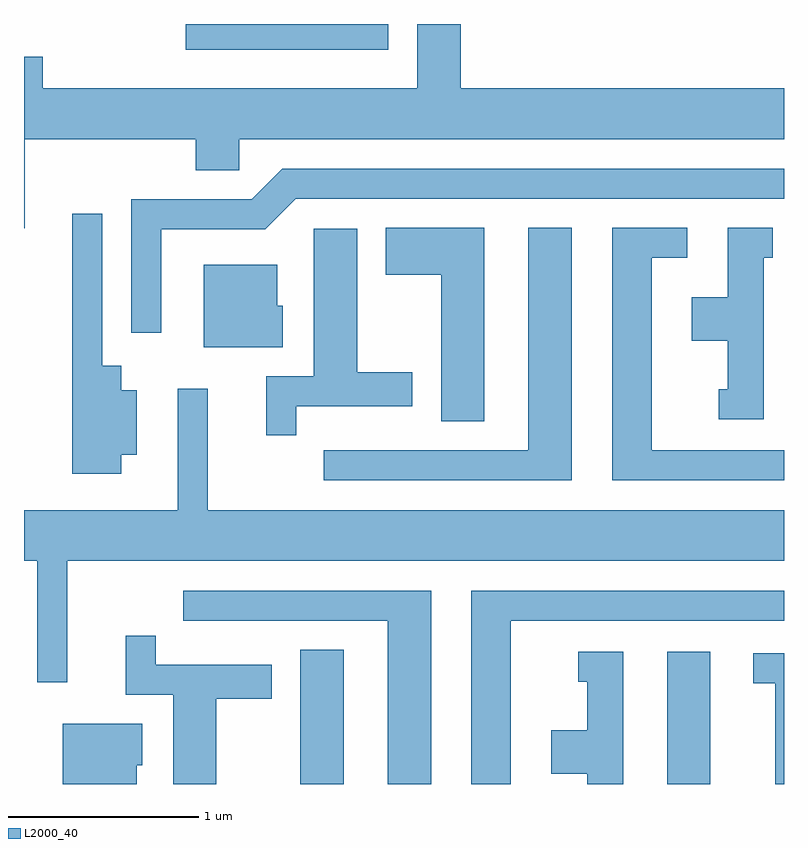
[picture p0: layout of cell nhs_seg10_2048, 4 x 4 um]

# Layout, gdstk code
import gdstk
lib = gdstk.Library(unit=1e-6, precision=1e-09)
def R(c, l, rs):  # rectangles x0, y0, x1, y1
    for r in rs: c.add(gdstk.rectangle(r[:2], r[2:], *l))
def P(c, l, *ps):  # polygons
    for p in ps: c.add(gdstk.Polygon(p, *l))
L2000_40 = (2000, 40)

nhs_seg10_2048 = lib.new_cell('nhs_seg10_2048')
R(nhs_seg10_2048, L2000_40, [(247.066,2110.522,247.294,2111.229), (248.996,2110.522,249.224,2111.219), (246.461,2114.386,247.529,2114.522)])
P(nhs_seg10_2048, L2000_40, [(245.709,2114.349),(245.611,2114.349),(245.611,2113.446),(245.614,2113.446),(245.614,2113.916),(246.516,2113.916),(246.516,2113.751),(246.744,2113.751),(246.744,2113.916),(249.611,2113.916),(249.611,2114.184),(247.909,2114.184),(247.909,2114.522),(247.681,2114.522),(247.681,2114.184),(245.709,2114.184)],
  [(246.334,2113.441),(246.882,2113.441),(247.042,2113.601),(249.611,2113.601),(249.611,2113.759),(246.969,2113.759),(246.809,2113.599),(246.176,2113.599),(246.176,2112.898),(246.334,2112.898)],
  [(246.124,2112.256),(246.204,2112.256),(246.204,2112.594),(246.124,2112.594),(246.124,2112.724),(246.024,2112.724),(246.024,2113.523),(245.866,2113.523),(245.866,2112.156),(246.124,2112.156)],
  [(248.494,2113.449),(248.266,2113.449),(248.266,2112.279),(247.188,2112.279),(247.188,2112.121),(248.494,2112.121)],
  [(249.611,2112.279),(248.914,2112.279),(248.914,2113.291),(249.103,2113.291),(249.103,2113.449),(248.706,2113.449),(248.706,2112.121),(249.611,2112.121)],
  [(248.034,2113.449),(247.516,2113.449),(247.516,2113.201),(247.806,2113.201),(247.806,2112.431),(248.034,2112.431)],
  [(249.504,2113.291),(249.553,2113.291),(249.553,2113.449),(249.316,2113.449),(249.316,2113.084),(249.126,2113.084),(249.126,2112.856),(249.316,2112.856),(249.316,2112.599),(249.268,2112.599),(249.268,2112.441),(249.504,2112.441)],
  [(247.044,2112.511),(247.654,2112.511),(247.654,2112.689),(247.364,2112.689),(247.364,2113.444),(247.136,2113.444),(247.136,2112.669),(246.886,2112.669),(246.886,2112.358),(247.044,2112.358)],
  [(246.974,2113.039),(246.944,2113.039),(246.944,2113.254),(246.556,2113.254),(246.556,2112.821),(246.974,2112.821)],
  [(245.839,2111.696),(249.611,2111.696),(249.611,2111.964),(246.579,2111.964),(246.579,2112.603),(246.421,2112.603),(246.421,2111.964),(245.611,2111.964),(245.611,2111.696),(245.681,2111.696),(245.681,2111.058),(245.839,2111.058)],
  [(248.174,2111.381),(249.611,2111.381),(249.611,2111.539),(247.966,2111.539),(247.966,2110.522),(248.174,2110.522)],
  [(247.754,2111.539),(246.448,2111.539),(246.448,2111.381),(247.526,2111.381),(247.526,2110.522),(247.754,2110.522)],
  [(246.624,2110.971),(246.914,2110.971),(246.914,2111.149),(246.304,2111.149),(246.304,2111.303),(246.146,2111.303),(246.146,2110.991),(246.396,2110.991),(246.396,2110.522),(246.624,2110.522)],
  [(248.764,2111.219),(248.528,2111.219),(248.528,2111.061),(248.576,2111.061),(248.576,2110.804),(248.386,2110.804),(248.386,2110.576),(248.576,2110.576),(248.576,2110.522),(248.764,2110.522)],
  [(249.611,2111.209),(249.448,2111.209),(249.448,2111.051),(249.566,2111.051),(249.566,2110.522),(249.611,2110.522)],
  [(246.204,2110.621),(246.234,2110.621),(246.234,2110.839),(245.816,2110.839),(245.816,2110.522),(246.204,2110.522)])

lib.write_gds('nhs_seg10_2048.gds')
